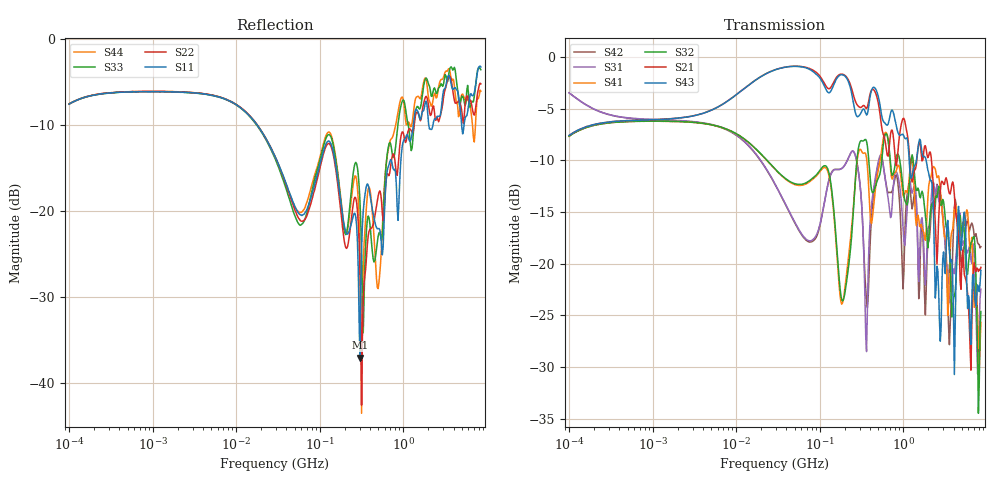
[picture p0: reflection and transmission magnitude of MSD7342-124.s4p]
# MHz S MA R 50
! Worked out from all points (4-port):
!   498 points, 100 kHz to 8.5 GHz, reference 50 ohm
!   strongest paths, dB at 100 kHz, 1.698 MHz, 29.49 MHz, 500.7 MHz, 8.5 GHz:
!     S43: -7.6, -6.0, -1.2, -3.8, -20.6
!     S21: -7.6, -6.0, -1.2, -4.4, -20.4
!     S32: -7.7, -6.2, -10.9, -11.8, -24.6
!     S41: -7.7, -6.2, -10.9, -11.0, -25.7
!     S31: -3.5, -6.1, -12.4, -10.2, -22.5
!     S42: -3.5, -6.2, -12.4, -10.4, -18.4
!   lowest |S11| = -37.1 dB at 302.9 MHz (marker M1), VSWR 1.03, Z = 49.1 + j1.03 ohm
!   |S11| at or under -10 dB: 17.97 MHz to 1.321 GHz (1.303 GHz wide, 195 % of centre); 2.02 GHz to 2.265 GHz (244.5 MHz wide, 11.4 % of centre); 5.003 GHz to 5.343 GHz (340.2 MHz wide, 6.58 % of centre)
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0.1  0.4194 30.7  0.4166 32.1  0.6702 -19.2  0.4132 -148.7
     0.4166 32.1  0.4203 30.9  0.4135 -148.6  0.6708 -19.3
     0.6702 -19.2  0.4135 -148.6  0.4199 30.7  0.4172 32.0
     0.4132 -148.7  0.6708 -19.3  0.4172 32.0  0.4206 30.8
130.1252  0.255 -35.5  0.7019 -29.5  0.2559 122.3  0.2628 -6.9
          0.7019 -29.5  0.2467 -37.6  0.2704 -7.8  0.2579 120.0
          0.2559 122.3  0.2704 -7.8  0.2785 -35.4  0.6706 -29.8
          0.2628 -6.9  0.2579 120.0  0.6706 -29.8  0.2884 -37.9
302.9285  0.01402 131.3  0.5699 -65.7  0.243 -51.9  0.3574 5.0
          0.5699 -65.7  0.04473 -125.5  0.3873 12.7  0.2439 -53.9
          0.243 -51.9  0.3873 12.7  0.1156 -121.9  0.5257 -61.0
          0.3574 5.0  0.2439 -53.9  0.5257 -61.0  0.06041 -128.8
2016.336  0.3176 81.6  0.333 52.3  0.1514 102.2  0.237 101.8
          0.333 52.3  0.4076 97.4  0.1319 82.6  0.128 95.6
          0.1514 102.2  0.1319 82.6  0.5454 104.7  0.274 23.8
          0.237 101.8  0.128 95.6  0.274 23.8  0.4497 89.5
3488.216  0.6157 -107.3  0.2264 -142.7  0.08304 -148.3  0.06387 -109.9
          0.2264 -142.7  0.6067 -94.9  0.1294 -158.1  0.04961 -162.8
          0.08304 -148.3  0.1294 -158.1  0.6176 -94.9  0.1428 -130.9
          0.06387 -109.9  0.04961 -162.8  0.1428 -130.9  0.6738 -121.7
7244.201  0.517 69.9  0.0934 -154.7  0.0867 69.9  0.07473 78.9
          0.0934 -154.7  0.3766 78.3  0.1203 58.8  0.1358 61.7
          0.0867 69.9  0.1203 58.8  0.505 105.9  0.06593 178.2
          0.07473 78.9  0.1358 61.7  0.06593 178.2  0.2878 55.8
8500  0.6907 -64.7  0.09593 40.4  0.07532 -12.6  0.05188 -53.2
      0.09593 40.4  0.5505 -67.0  0.05865 -45.4  0.1208 -106.7
      0.07532 -12.6  0.05865 -45.4  0.665 -62.1  0.09281 42.1
      0.05188 -53.2  0.1208 -106.7  0.09281 42.1  0.4988 -79.0
